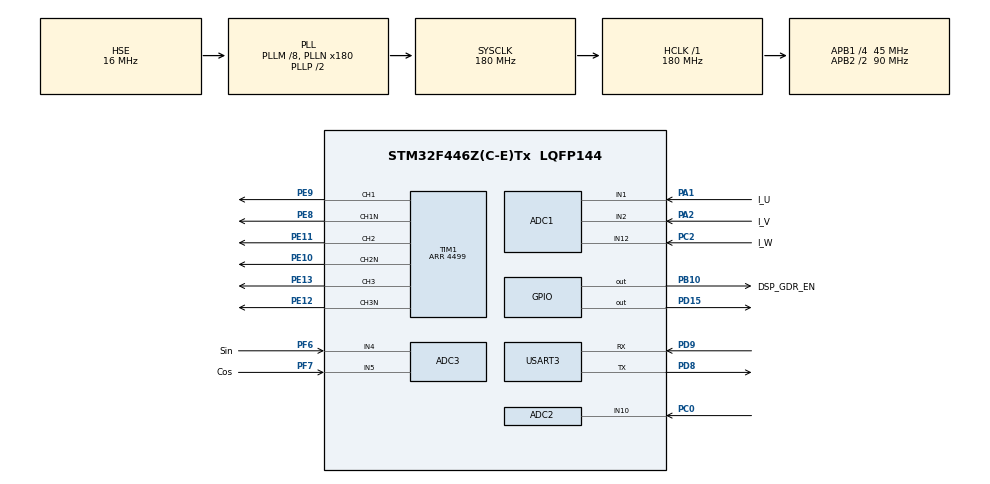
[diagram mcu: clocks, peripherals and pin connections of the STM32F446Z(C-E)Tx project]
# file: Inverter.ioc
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ADC1.Channel-0\#ChannelRegularConversion=ADC_CHANNEL_1
ADC1.Channel-1\#ChannelRegularConversion=ADC_CHANNEL_2
ADC1.Channel-2\#ChannelRegularConversion=ADC_CHANNEL_12
ADC1.EOCSelection=ADC_EOC_SINGLE_CONV
ADC1.NbrOfConversion=3
ADC1.NbrOfConversionFlag=1
ADC1.Rank-0\#ChannelRegularConversion=1
ADC1.Rank-1\#ChannelRegularConversion=2
ADC1.Rank-2\#ChannelRegularConversion=3
ADC1.SamplingTime-0\#ChannelRegularConversion=ADC_SAMPLETIME_15CYCLES
ADC1.SamplingTime-1\#ChannelRegularConversion=ADC_SAMPLETIME_15CYCLES
ADC1.SamplingTime-2\#ChannelRegularConversion=ADC_SAMPLETIME_15CYCLES
ADC1.ScanConvMode=ENABLE
ADC1.master=1
ADC2.Channel-0\#ChannelRegularConversion=ADC_CHANNEL_10
ADC2.NbrOfConversionFlag=1
ADC2.Rank-0\#ChannelRegularConversion=1
ADC2.SamplingTime-0\#ChannelRegularConversion=ADC_SAMPLETIME_480CYCLES
ADC3.Channel-0\#ChannelRegularConversion=ADC_CHANNEL_4
ADC3.Channel-1\#ChannelRegularConversion=ADC_CHANNEL_5
ADC3.ContinuousConvMode=ENABLE
ADC3.DMAContinuousRequests=ENABLE
ADC3.EOCSelection=ADC_EOC_SEQ_CONV
ADC3.NbrOfConversion=2
ADC3.NbrOfConversionFlag=1
ADC3.Rank-0\#ChannelRegularConversion=1
ADC3.Rank-1\#ChannelRegularConversion=2
ADC3.SamplingTime-0\#ChannelRegularConversion=ADC_SAMPLETIME_56CYCLES
ADC3.SamplingTime-1\#ChannelRegularConversion=ADC_SAMPLETIME_56CYCLES
ADC3.ScanConvMode=ENABLE
Dma.ADC3.0.Direction=DMA_PERIPH_TO_MEMORY
Dma.ADC3.0.FIFOMode=DMA_FIFOMODE_DISABLE
Dma.ADC3.0.Instance=DMA2_Stream0
Dma.ADC3.0.MemDataAlignment=DMA_MDATAALIGN_HALFWORD
Dma.ADC3.0.MemInc=DMA_MINC_ENABLE
Dma.ADC3.0.Mode=DMA_CIRCULAR
Dma.ADC3.0.PeriphDataAlignment=DMA_PDATAALIGN_HALFWORD
Dma.ADC3.0.PeriphInc=DMA_PINC_DISABLE
Dma.ADC3.0.Priority=DMA_PRIORITY_LOW
Dma.Request0=ADC3
Mcu.Family=STM32F4
Mcu.Name=STM32F446Z(C-E)Tx
Mcu.Package=LQFP144
NVIC.DMA2_Stream0_IRQn=true\:0\:0\:false\:false\:true\:false\:true\:true
NVIC.PriorityGroup=NVIC_PRIORITYGROUP_4
NVIC.TIM1_UP_TIM10_IRQn=true\:1\:0\:true\:false\:true\:true\:true\:true
PA1.GPIO_Label=I_U
PA1.Signal=ADCx_IN1
PA13.Mode=Trace_Asynchronous_SW
PA13.Signal=SYS_JTMS-SWDIO
PA14.Mode=Trace_Asynchronous_SW
PA14.Signal=SYS_JTCK-SWCLK
PA2.GPIO_Label=I_V
PA2.Signal=ADCx_IN2
PB10.GPIO_Label=DSP_GDR_EN
PB10.Signal=GPIO_Output
PB3.Mode=Trace_Asynchronous_SW
PB3.Signal=SYS_JTDO-SWO
PC0.Signal=ADCx_IN10
PC14-OSC32_IN.Mode=LSE-External-Oscillator
PC14-OSC32_IN.Signal=RCC_OSC32_IN
PC15-OSC32_OUT.Mode=LSE-External-Oscillator
PC15-OSC32_OUT.Signal=RCC_OSC32_OUT
PC2.GPIO_Label=I_W
PC2.Signal=ADCx_IN12
PD15.Signal=GPIO_Output
PD8.Mode=Asynchronous
PD8.Signal=USART3_TX
PD9.Mode=Asynchronous
PD9.Signal=USART3_RX
PE10.Mode=PWM Generation2 CH2 CH2N
PE10.Signal=TIM1_CH2N
PE11.Signal=S_TIM1_CH2
PE12.Mode=PWM Generation3 CH3 CH3N
PE12.Signal=TIM1_CH3N
PE13.Signal=S_TIM1_CH3
PE8.Mode=PWM Generation1 CH1 CH1N
PE8.Signal=TIM1_CH1N
PE9.Signal=S_TIM1_CH1
PF6.GPIO_Label=Sin
PF6.Mode=IN4
PF6.Signal=ADC3_IN4
PF7.GPIO_Label=Cos
PF7.Mode=IN5
PF7.Signal=ADC3_IN5
PH0-OSC_IN.Mode=HSE-External-Oscillator
PH0-OSC_IN.Signal=RCC_OSC_IN
PH1-OSC_OUT.Mode=HSE-External-Oscillator
PH1-OSC_OUT.Signal=RCC_OSC_OUT
ProjectManager.HeapSize=0x200
ProjectManager.StackSize=0x400
ProjectManager.TargetToolchain=STM32CubeIDE
RCC.AHBFreq_Value=180000000
RCC.APB1CLKDivider=RCC_HCLK_DIV4
RCC.APB1Freq_Value=45000000
RCC.APB1TimFreq_Value=90000000
RCC.APB2CLKDivider=RCC_HCLK_DIV2
RCC.APB2Freq_Value=90000000
RCC.APB2TimFreq_Value=180000000
RCC.CortexFreq_Value=180000000
RCC.HCLKFreq_Value=180000000
RCC.HSE_VALUE=16000000
RCC.PLLM=8
RCC.PLLN=180
RCC.PLLSourceVirtual=RCC_PLLSOURCE_HSE
RCC.SYSCLKFreq_VALUE=180000000
RCC.SYSCLKSource=RCC_SYSCLKSOURCE_PLLCLK
RCC.USBFreq_Value=180000000
RCC.VCOOutputFreq_Value=360000000
SH.ADCx_IN1.0=ADC1_IN1,IN1
SH.ADCx_IN10.0=ADC2_IN10,IN10
SH.ADCx_IN12.0=ADC1_IN12,IN12
SH.ADCx_IN2.0=ADC1_IN2,IN2
SH.S_TIM1_CH1.0=TIM1_CH1,PWM Generation1 CH1 CH1N
SH.S_TIM1_CH2.0=TIM1_CH2,PWM Generation2 CH2 CH2N
SH.S_TIM1_CH3.0=TIM1_CH3,PWM Generation3 CH3 CH3N
TIM1.Channel-PWM\ Generation1\ CH1\ CH1N=TIM_CHANNEL_1
TIM1.Channel-PWM\ Generation2\ CH2\ CH2N=TIM_CHANNEL_2
TIM1.Channel-PWM\ Generation3\ CH3\ CH3N=TIM_CHANNEL_3
TIM1.CounterMode=TIM_COUNTERMODE_CENTERALIGNED1
TIM1.DeadTime=205
TIM1.Period=4499
TIM1.Pulse-PWM\ Generation1\ CH1\ CH1N=2250
TIM1.Pulse-PWM\ Generation2\ CH2\ CH2N=2250
TIM1.Pulse-PWM\ Generation3\ CH3\ CH3N=2250
TIM1.RepetitionCounter=1
USART3.VirtualMode=VM_ASYNC
VP_TIM1_VS_ClockSourceINT.Mode=Internal
board=custom

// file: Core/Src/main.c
/* USER CODE BEGIN Header */
/**
  ******************************************************************************
  * @file           : main.c
  * @brief          : Main program body
  ******************************************************************************
  * @attention
  *
  * Copyright (c) 2026 STMicroelectronics.
  * All rights reserved.
  *
  * This software is licensed under terms that can be found in the LICENSE file
  * in the root directory of this software component.
  * If no LICENSE file comes with this software, it is provided AS-IS.
  *
  ******************************************************************************
  */
/* USER CODE END Header */
#include "main.h"

/* USER CODE BEGIN Includes */
#include <stdio.h>
#include "foc.h"
#include "encoder.h"
#include "statemachine.h"
#include "pwm.h"
#include "safety.h"
#include "strom.h"
#include "inverter_config.h"

/* USER CODE END Includes */

ADC_HandleTypeDef hadc1;
ADC_HandleTypeDef hadc2;
ADC_HandleTypeDef hadc3;
DMA_HandleTypeDef hdma_adc3;

TIM_HandleTypeDef htim1;

UART_HandleTypeDef huart3;

/* USER CODE BEGIN PV */

	Strom_t phasen = {0};   // Struktur für Strommessung (alle Werte auf 0)
	foc_state foc = {0};

	// OPEN LOOP CONTROL
	static float ol_theta = 0.0f;
	static const float OL_STEP = 0.001257f;   /* 60 RPM */
	static const float OL_IQ   = 5.0f;        /* 5 A Teststrom in q richtung*/

/* USER CODE END PV */

void SystemClock_Config(void);
static void MX_GPIO_Init(void);
static void MX_DMA_Init(void);
static void MX_USART3_UART_Init(void);
static void MX_ADC1_Init(void);
static void MX_TIM1_Init(void);
static void MX_ADC3_Init(void);
static void MX_ADC2_Init(void);

int main(void)
{

  /* MCU Configuration--------------------------------------------------------*/

  /* Reset of all peripherals, Initializes the Flash interface and the Systick. */
  HAL_Init();

  /* Configure the system clock */
  SystemClock_Config();

  /* Initialize all configured peripherals */
  MX_GPIO_Init();
  MX_DMA_Init();
  MX_USART3_UART_Init();
  MX_ADC1_Init();
  MX_TIM1_Init();
  MX_ADC3_Init();
  MX_ADC2_Init();
  /* USER CODE BEGIN 2 */

  /* PWM-Ausgabe starten — alle 3 Kanäle High-Side und Low-Side */
  HAL_TIM_PWM_Start(&htim1, TIM_CHANNEL_1);
  HAL_TIMEx_PWMN_Start(&htim1, TIM_CHANNEL_1);
  HAL_TIM_PWM_Start(&htim1, TIM_CHANNEL_2);
  HAL_TIMEx_PWMN_Start(&htim1, TIM_CHANNEL_2);
  HAL_TIM_PWM_Start(&htim1, TIM_CHANNEL_3);
  HAL_TIMEx_PWMN_Start(&htim1, TIM_CHANNEL_3);

  Strom_Kalibrieren(&hadc1, &phasen);

  char init_msg[80];
  int init_len = sprintf(init_msg, "Offset: U=%u V=%u W=%u\r\n",
                         phasen.offset_U, phasen.offset_V, phasen.offset_W);
  HAL_UART_Transmit(&huart3, (uint8_t*)init_msg, init_len, 100);

  foc_init(&foc, TIM1_ARR);
  pwm_enable();
  statemachine_set_run();
  HAL_TIM_Base_Start_IT(&htim1);

  /* USER CODE END 2 */

  /* Infinite loop */
  while (1)
  {

    /* USER CODE BEGIN 3 */

    // Strom_Messen(&hadc1, &phasen);

	  /* UART-Kommando empfangen (non-blocking) */
	     uint8_t cmd = 0;
	     if (HAL_UART_Receive(&huart3, &cmd, 1, 10) == HAL_OK)
	     {
	         if (cmd == 's')  /* start */
	         {
	             pwm_enable();
	             statemachine_set_run();
	             HAL_UART_Transmit(&huart3, (uint8_t*)">> RUN\r\n", 8, 50);
	         }
	         else if (cmd == 'x')  /* stop */
	         {
	             pwm_disable();
	             statemachine_set_idle();
	             HAL_UART_Transmit(&huart3, (uint8_t*)">> IDLE\r\n", 9, 50);
	         }
	         else if (cmd == 'r')  /* reset from FAULT */
	         {
	             pwm_disable();
	             statemachine_set_idle();
	             HAL_UART_Transmit(&huart3, (uint8_t*)">> RESET\r\n", 10, 50);
	         }
	     }

	     /* Debug-Ausgabe */
	     char msg[160];
	     int len = sprintf(msg,
	         "S:%d F:%d | I: %+6.1f %+6.1f %+6.1f | th:%5.1f | D: %.2f %.2f %.2f\r\n",
	         statemachine_get_state(),
	         statemachine_get_fault_code(),
	         phasen.i_U, phasen.i_V, phasen.i_W,
	         ol_theta * 57.2958f,
	         foc.svpwm_data.d_u, foc.svpwm_data.d_v, foc.svpwm_data.d_w);
	     HAL_UART_Transmit(&huart3, (uint8_t*)msg, len, 100);

	     HAL_Delay(500);
  /* USER CODE END 3 */
  }
}

void SystemClock_Config(void)
{
  RCC_OscInitTypeDef RCC_OscInitStruct = {0};
  RCC_ClkInitTypeDef RCC_ClkInitStruct = {0};

  /** Configure the main internal regulator output voltage
  */
  __HAL_RCC_PWR_CLK_ENABLE();
  __HAL_PWR_VOLTAGESCALING_CONFIG(PWR_REGULATOR_VOLTAGE_SCALE1);

  /** Initializes the RCC Oscillators according to the specified parameters
  * in the RCC_OscInitTypeDef structure.
  */
  RCC_OscInitStruct.OscillatorType = RCC_OSCILLATORTYPE_HSE;
  RCC_OscInitStruct.HSEState = RCC_HSE_ON;
  RCC_OscInitStruct.PLL.PLLState = RCC_PLL_ON;
  RCC_OscInitStruct.PLL.PLLSource = RCC_PLLSOURCE_HSE;
  RCC_OscInitStruct.PLL.PLLM = 8;
  RCC_OscInitStruct.PLL.PLLN = 180;
  RCC_OscInitStruct.PLL.PLLP = RCC_PLLP_DIV2;
  RCC_OscInitStruct.PLL.PLLQ = 2;
  RCC_OscInitStruct.PLL.PLLR = 2;
  if (HAL_RCC_OscConfig(&RCC_OscInitStruct) != HAL_OK)
  {
    Error_Handler();
  }

  /** Activate the Over-Drive mode
  */
  if (HAL_PWREx_EnableOverDrive() != HAL_OK)
  {
    Error_Handler();
  }

  /** Initializes the CPU, AHB and APB buses clocks
  */
  RCC_ClkInitStruct.ClockType = RCC_CLOCKTYPE_HCLK|RCC_CLOCKTYPE_SYSCLK
                              |RCC_CLOCKTYPE_PCLK1|RCC_CLOCKTYPE_PCLK2;
  RCC_ClkInitStruct.SYSCLKSource = RCC_SYSCLKSOURCE_PLLCLK;
  RCC_ClkInitStruct.AHBCLKDivider = RCC_SYSCLK_DIV1;
  RCC_ClkInitStruct.APB1CLKDivider = RCC_HCLK_DIV4;
  RCC_ClkInitStruct.APB2CLKDivider = RCC_HCLK_DIV2;

  if (HAL_RCC_ClockConfig(&RCC_ClkInitStruct, FLASH_LATENCY_5) != HAL_OK)
  {
    Error_Handler();
  }
}

static void MX_ADC1_Init(void)
{

  ADC_ChannelConfTypeDef sConfig = {0};

  /** Configure the global features of the ADC (Clock, Resolution, Data Alignment and number of conversion)
  */
  hadc1.Instance = ADC1;
  hadc1.Init.ClockPrescaler = ADC_CLOCK_SYNC_PCLK_DIV4;
  hadc1.Init.Resolution = ADC_RESOLUTION_12B;
  hadc1.Init.ScanConvMode = ENABLE;
  hadc1.Init.ContinuousConvMode = DISABLE;
  hadc1.Init.DiscontinuousConvMode = DISABLE;
  hadc1.Init.ExternalTrigConvEdge = ADC_EXTERNALTRIGCONVEDGE_NONE;
  hadc1.Init.ExternalTrigConv = ADC_SOFTWARE_START;
  hadc1.Init.DataAlign = ADC_DATAALIGN_RIGHT;
  hadc1.Init.NbrOfConversion = 3;
  hadc1.Init.DMAContinuousRequests = DISABLE;
  hadc1.Init.EOCSelection = ADC_EOC_SINGLE_CONV;
  if (HAL_ADC_Init(&hadc1) != HAL_OK)
  {
    Error_Handler();
  }

  /** Configure for the selected ADC regular channel its corresponding rank in the sequencer and its sample time.
  */
  sConfig.Channel = ADC_CHANNEL_1;
  sConfig.Rank = 1;
  sConfig.SamplingTime = ADC_SAMPLETIME_15CYCLES;
  if (HAL_ADC_ConfigChannel(&hadc1, &sConfig) != HAL_OK)
  {
    Error_Handler();
  }

  /** Configure for the selected ADC regular channel its corresponding rank in the sequencer and its sample time.
  */
  sConfig.Channel = ADC_CHANNEL_2;
  sConfig.Rank = 2;
  if (HAL_ADC_ConfigChannel(&hadc1, &sConfig) != HAL_OK)
  {
    Error_Handler();
  }

  /** Configure for the selected ADC regular channel its corresponding rank in the sequencer and its sample time.
  */
  sConfig.Channel = ADC_CHANNEL_12;
  sConfig.Rank = 3;
  if (HAL_ADC_ConfigChannel(&hadc1, &sConfig) != HAL_OK)
  {
    Error_Handler();
  }

}

static void MX_ADC2_Init(void)
{

  ADC_ChannelConfTypeDef sConfig = {0};

  /** Configure the global features of the ADC (Clock, Resolution, Data Alignment and number of conversion)
  */
  hadc2.Instance = ADC2;
  hadc2.Init.ClockPrescaler = ADC_CLOCK_SYNC_PCLK_DIV4;
  hadc2.Init.Resolution = ADC_RESOLUTION_12B;
  hadc2.Init.ScanConvMode = DISABLE;
  hadc2.Init.ContinuousConvMode = DISABLE;
  hadc2.Init.DiscontinuousConvMode = DISABLE;
  hadc2.Init.ExternalTrigConvEdge = ADC_EXTERNALTRIGCONVEDGE_NONE;
  hadc2.Init.ExternalTrigConv = ADC_SOFTWARE_START;
  hadc2.Init.DataAlign = ADC_DATAALIGN_RIGHT;
  hadc2.Init.NbrOfConversion = 1;
  hadc2.Init.DMAContinuousRequests = DISABLE;
  hadc2.Init.EOCSelection = ADC_EOC_SINGLE_CONV;
  if (HAL_ADC_Init(&hadc2) != HAL_OK)
  {
    Error_Handler();
  }

  /** Configure for the selected ADC regular channel its corresponding rank in the sequencer and its sample time.
  */
  sConfig.Channel = ADC_CHANNEL_10;
  sConfig.Rank = 1;
  sConfig.SamplingTime = ADC_SAMPLETIME_480CYCLES;
  if (HAL_ADC_ConfigChannel(&hadc2, &sConfig) != HAL_OK)
  {
    Error_Handler();
  }

}

static void MX_ADC3_Init(void)
{

  ADC_ChannelConfTypeDef sConfig = {0};

  /** Configure the global features of the ADC (Clock, Resolution, Data Alignment and number of conversion)
  */
  hadc3.Instance = ADC3;
  hadc3.Init.ClockPrescaler = ADC_CLOCK_SYNC_PCLK_DIV4;
  hadc3.Init.Resolution = ADC_RESOLUTION_12B;
  hadc3.Init.ScanConvMode = ENABLE;
  hadc3.Init.ContinuousConvMode = ENABLE;
  hadc3.Init.DiscontinuousConvMode = DISABLE;
  hadc3.Init.ExternalTrigConvEdge = ADC_EXTERNALTRIGCONVEDGE_NONE;
  hadc3.Init.ExternalTrigConv = ADC_SOFTWARE_START;
  hadc3.Init.DataAlign = ADC_DATAALIGN_RIGHT;
  hadc3.Init.NbrOfConversion = 2;
  hadc3.Init.DMAContinuousRequests = ENABLE;
  hadc3.Init.EOCSelection = ADC_EOC_SEQ_CONV;
  if (HAL_ADC_Init(&hadc3) != HAL_OK)
  {
    Error_Handler();
  }

  /** Configure for the selected ADC regular channel its corresponding rank in the sequencer and its sample time.
  */
  sConfig.Channel = ADC_CHANNEL_4;
  sConfig.Rank = 1;
  sConfig.SamplingTime = ADC_SAMPLETIME_56CYCLES;
  if (HAL_ADC_ConfigChannel(&hadc3, &sConfig) != HAL_OK)
  {
    Error_Handler();
  }

  /** Configure for the selected ADC regular channel its corresponding rank in the sequencer and its sample time.
  */
  sConfig.Channel = ADC_CHANNEL_5;
  sConfig.Rank = 2;
  if (HAL_ADC_ConfigChannel(&hadc3, &sConfig) != HAL_OK)
  {
    Error_Handler();
  }

}

static void MX_TIM1_Init(void)
{

  TIM_ClockConfigTypeDef sClockSourceConfig = {0};
  TIM_MasterConfigTypeDef sMasterConfig = {0};
  TIM_OC_InitTypeDef sConfigOC = {0};
  TIM_BreakDeadTimeConfigTypeDef sBreakDeadTimeConfig = {0};

  htim1.Instance = TIM1;
  htim1.Init.Prescaler = 0;
  htim1.Init.CounterMode = TIM_COUNTERMODE_CENTERALIGNED1;
  htim1.Init.Period = 4499;
  htim1.Init.ClockDivision = TIM_CLOCKDIVISION_DIV1;
  htim1.Init.RepetitionCounter = 1;
  htim1.Init.AutoReloadPreload = TIM_AUTORELOAD_PRELOAD_DISABLE;
  if (HAL_TIM_Base_Init(&htim1) != HAL_OK)
  {
    Error_Handler();
  }
  sClockSourceConfig.ClockSource = TIM_CLOCKSOURCE_INTERNAL;
  if (HAL_TIM_ConfigClockSource(&htim1, &sClockSourceConfig) != HAL_OK)
  {
    Error_Handler();
  }
  if (HAL_TIM_PWM_Init(&htim1) != HAL_OK)
  {
    Error_Handler();
  }
  sMasterConfig.MasterOutputTrigger = TIM_TRGO_RESET;
  sMasterConfig.MasterSlaveMode = TIM_MASTERSLAVEMODE_DISABLE;
  if (HAL_TIMEx_MasterConfigSynchronization(&htim1, &sMasterConfig) != HAL_OK)
  {
    Error_Handler();
  }
  sConfigOC.OCMode = TIM_OCMODE_PWM1;
  sConfigOC.Pulse = 2250;
  sConfigOC.OCPolarity = TIM_OCPOLARITY_HIGH;
  sConfigOC.OCNPolarity = TIM_OCNPOLARITY_HIGH;
  sConfigOC.OCFastMode = TIM_OCFAST_DISABLE;
  sConfigOC.OCIdleState = TIM_OCIDLESTATE_RESET;
  sConfigOC.OCNIdleState = TIM_OCNIDLESTATE_RESET;
  if (HAL_TIM_PWM_ConfigChannel(&htim1, &sConfigOC, TIM_CHANNEL_1) != HAL_OK)
  {
    Error_Handler();
  }
  if (HAL_TIM_PWM_ConfigChannel(&htim1, &sConfigOC, TIM_CHANNEL_2) != HAL_OK)
  {
    Error_Handler();
  }
  if (HAL_TIM_PWM_ConfigChannel(&htim1, &sConfigOC, TIM_CHANNEL_3) != HAL_OK)
  {
    Error_Handler();
  }
  sBreakDeadTimeConfig.OffStateRunMode = TIM_OSSR_DISABLE;
  sBreakDeadTimeConfig.OffStateIDLEMode = TIM_OSSI_DISABLE;
  sBreakDeadTimeConfig.LockLevel = TIM_LOCKLEVEL_OFF;
  sBreakDeadTimeConfig.DeadTime = 205;
  sBreakDeadTimeConfig.BreakState = TIM_BREAK_DISABLE;
  sBreakDeadTimeConfig.BreakPolarity = TIM_BREAKPOLARITY_HIGH;
  sBreakDeadTimeConfig.AutomaticOutput = TIM_AUTOMATICOUTPUT_DISABLE;
  if (HAL_TIMEx_ConfigBreakDeadTime(&htim1, &sBreakDeadTimeConfig) != HAL_OK)
  {
    Error_Handler();
  }
  HAL_TIM_MspPostInit(&htim1);

}

static void MX_USART3_UART_Init(void)
{

  huart3.Instance = USART3;
  huart3.Init.BaudRate = 115200;
  huart3.Init.WordLength = UART_WORDLENGTH_8B;
  huart3.Init.StopBits = UART_STOPBITS_1;
  huart3.Init.Parity = UART_PARITY_NONE;
  huart3.Init.Mode = UART_MODE_TX_RX;
  huart3.Init.HwFlowCtl = UART_HWCONTROL_NONE;
  huart3.Init.OverSampling = UART_OVERSAMPLING_16;
  if (HAL_UART_Init(&huart3) != HAL_OK)
  {
    Error_Handler();
  }

}

static void MX_DMA_Init(void)
{

  /* DMA controller clock enable */
  __HAL_RCC_DMA2_CLK_ENABLE();

  /* DMA interrupt init */
  /* DMA2_Stream0_IRQn interrupt configuration */
  HAL_NVIC_SetPriority(DMA2_Stream0_IRQn, 0, 0);
  HAL_NVIC_EnableIRQ(DMA2_Stream0_IRQn);

}

static void MX_GPIO_Init(void)
{
  GPIO_InitTypeDef GPIO_InitStruct = {0};

  /* GPIO Ports Clock Enable */
  __HAL_RCC_GPIOC_CLK_ENABLE();
  __HAL_RCC_GPIOF_CLK_ENABLE();
  __HAL_RCC_GPIOH_CLK_ENABLE();
  __HAL_RCC_GPIOA_CLK_ENABLE();
  __HAL_RCC_GPIOE_CLK_ENABLE();
  __HAL_RCC_GPIOB_CLK_ENABLE();
  __HAL_RCC_GPIOD_CLK_ENABLE();

  /*Configure GPIO pin Output Level */
  HAL_GPIO_WritePin(DSP_GDR_EN_GPIO_Port, DSP_GDR_EN_Pin, GPIO_PIN_RESET);

  /*Configure GPIO pin Output Level */
  HAL_GPIO_WritePin(GPIOD, GPIO_PIN_15, GPIO_PIN_RESET);

  /*Configure GPIO pin : DSP_GDR_EN_Pin */
  GPIO_InitStruct.Pin = DSP_GDR_EN_Pin;
  GPIO_InitStruct.Mode = GPIO_MODE_OUTPUT_PP;
  GPIO_InitStruct.Pull = GPIO_NOPULL;
  GPIO_InitStruct.Speed = GPIO_SPEED_FREQ_LOW;
  HAL_GPIO_Init(DSP_GDR_EN_GPIO_Port, &GPIO_InitStruct);

  /*Configure GPIO pin : PD15 */
  GPIO_InitStruct.Pin = GPIO_PIN_15;
  GPIO_InitStruct.Mode = GPIO_MODE_OUTPUT_PP;
  GPIO_InitStruct.Pull = GPIO_NOPULL;
  GPIO_InitStruct.Speed = GPIO_SPEED_FREQ_LOW;
  HAL_GPIO_Init(GPIOD, &GPIO_InitStruct);

}

/* USER CODE BEGIN 4 */
	// ISR
	void HAL_TIM_PeriodElapsedCallback(TIM_HandleTypeDef *htim)
	{
		if (htim->Instance != TIM1) return;

		HAL_GPIO_TogglePin(GPIOD, GPIO_PIN_15);   /* LED toggelt mit 10 kHz */

	    /* 1. Ströme messen (noch polling, später TIM1-Trigger + DMA) */
	    Strom_Messen(&hadc1, &phasen);

	    /* 2. Überstrom-Check — VOR allem anderen */
	    if (!safety_check_current(phasen.i_U, phasen.i_V, phasen.i_W))
	    {
	        pwm_disable();
	        statemachine_set_fault(FAULT_OVERCURRENT);
	        return;
	    }

	    /* 3. Nur im RUN-State regeln */
	    if (statemachine_get_state() != STATE_RUN) return;

	    /* Open Loop: theta künstlich hochzählen */
	    ol_theta += OL_STEP;
	    if (ol_theta >= 6.2831853f) ol_theta -= 6.2831853f;

	    float limit = U_DC_GEN1_FIXED_V * 0.5f * 1.1547f;
	    foc_run(&foc, phasen.i_U, phasen.i_V, phasen.i_W,
	            ol_theta, 0.0f, OL_IQ, limit);

	    // pwm_update(foc.svpwm_data.ccr_u,
	    //           foc.svpwm_data.ccr_v,
	    //           foc.svpwm_data.ccr_w);

	    /* Open Loop ENDE */

	    /* 4. Encoder auslesen */
	    // encoder_update();
	    // float theta = encoder_get_angle_elec();

	    // float limit = U_DC_GEN1_FIXED_V * 0.5f * 1.1547f;

	    /* 5. FOC-Kette */
	    // foc_run(&foc, phasen.i_U, phasen.i_V, phasen.i_W,
	    //         theta, 0.0f, 0.0f, limit);

	    /* 6. PWM aktualisieren */
	    // pwm_update(foc_state.svpwm.ccr_u,
	    //            foc_state.svpwm.ccr_v,
	    //            foc_state.svpwm.ccr_w);
	}

/* USER CODE END 4 */

void Error_Handler(void)
{
  __disable_irq();
  while (1)
  {
  }
}
